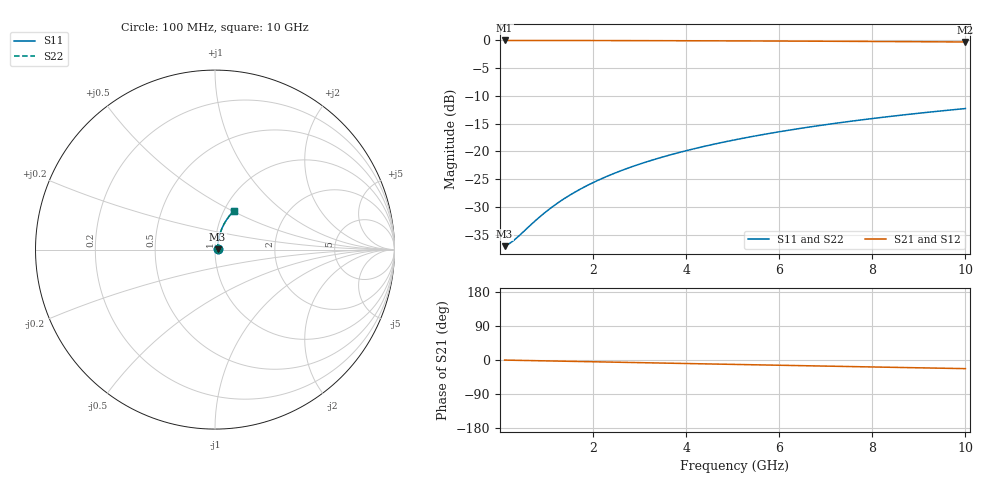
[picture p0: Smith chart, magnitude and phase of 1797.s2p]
# Hz S RI R 50.00
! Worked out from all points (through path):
!   100 points, 100 MHz to 10 GHz, reference 50 ohm
!   highest |S21| = -0.12 dB at 100 MHz (marker M1); lowest = -0.4 dB at 10 GHz (marker M2)
!   group delay of S21, straight-line fit = 6.34 ps
!   lowest |S11| = -36.9 dB at 100 MHz (marker M3), VSWR 1.03, Z = 51.4 + j0.255 ohm
!   |S11| at or under -10 dB: start of sweep to end of sweep
!   |S22| runs from -36.9 to -12.3 dB; largest |S21 - S12| = 0
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1e8  0.014 0.00248  0.986 -0.004  0.986 -0.004  0.014 0.00248
2e8  0.0141 0.00495  0.9859 -0.008  0.9859 -0.008  0.0141 0.00495
3e8  0.0142 0.00743  0.9858 -0.012  0.9858 -0.012  0.0142 0.00743
4e8  0.0144 0.0099  0.9856 -0.016  0.9856 -0.016  0.0144 0.0099
8e8  0.015 0.0198  0.9849 -0.032  0.9849 -0.032  0.015 0.0198
1.1e9  0.0156 0.0272  0.9842 -0.0439  0.9842 -0.0439  0.0156 0.0272
1.4e9  0.0165 0.0346  0.9833 -0.0559  0.9833 -0.0559  0.0165 0.0346
1.6e9  0.0171 0.0395  0.9826 -0.0638  0.9826 -0.0638  0.0171 0.0395
1.8e9  0.0178 0.0443  0.9818 -0.0717  0.9818 -0.0717  0.0178 0.0443
2.1e9  0.0191 0.0517  0.9804 -0.0836  0.9804 -0.0836  0.0191 0.0517
2.5e9  0.021 0.0613  0.9783 -0.0994  0.9783 -0.0994  0.021 0.0613
2.9e9  0.0232 0.0709  0.9758 -0.1151  0.9758 -0.1151  0.0232 0.0709
3.4e9  0.0263 0.0828  0.9723 -0.1346  0.9723 -0.1346  0.0263 0.0828
3.8e9  0.0292 0.0922  0.9691 -0.1501  0.9691 -0.1501  0.0292 0.0922
4.2e9  0.0324 0.1015  0.9655 -0.1654  0.9655 -0.1654  0.0324 0.1015
4.6e9  0.0358 0.1106  0.9616 -0.1807  0.9616 -0.1807  0.0358 0.1106
5.1e9  0.0405 0.1219  0.9563 -0.1996  0.9563 -0.1996  0.0405 0.1219
5.9e9  0.049 0.1394  0.9469 -0.2293  0.9469 -0.2293  0.049 0.1394
6.7e9  0.0585 0.1562  0.9362 -0.2584  0.9362 -0.2584  0.0585 0.1562
7.5e9  0.0689 0.1723  0.9244 -0.2867  0.9244 -0.2867  0.0689 0.1723
8.4e9  0.0818 0.1895  0.9098 -0.3177  0.9098 -0.3177  0.0818 0.1895
1e10  0.1072 0.2173  0.8808 -0.3702  0.8808 -0.3702  0.1072 0.2173
